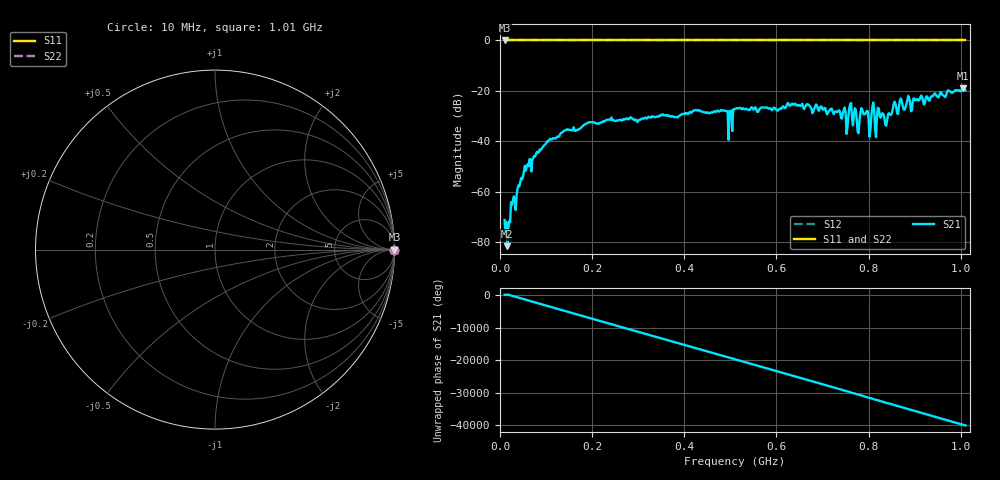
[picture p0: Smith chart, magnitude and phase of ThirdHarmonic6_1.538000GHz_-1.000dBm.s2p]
! 8/16/2025 6:14:11 PM
! C:\ANRITSUVNA\TEMP\TEMP.S2P
! CHANNEL.1
! TR.MEASUREMENT
! RAW.DATA
! RF.CORRECTION.OFF
! AVERAGING.OFF
! IF.BANDWIDTH: 5KHZ
! SWEEPTYPE:  FREQ.SWEEP(Linear)
! Reference Plane Port Info
! PORT:  PORT1  PORT2
! DISTANCE:  0  m  0  m
! TIME:  0  s  0  s
! PHASE.OFFSET:  0  deg.  0  deg.
! LOSS:  0  dB  0  dB
! REF.LOSS:  0  dB  0  dB
! REF.FREQ:  0  Hz  0  Hz
! Power Info
! POWER:  -20  dBm  -20  dBm
! EFF.POWER:  -20  dBm  -20  dBm
! SOURCE.ATTEN:  0  dB  0  dB
! TEST.ATTEN:  0  dB  0  dB
# GHZ S RI R 50.0
! FREQ.GHZ  S11RE  S11IM  S21RE  S21IM  S12RE  S12IM  S22RE  S22IM
!; PortSelection: Port_12
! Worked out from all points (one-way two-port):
!   501 points, 10 MHz to 1.01 GHz, reference 50 ohm
!   highest |S21| = -19.03 dB at 1.004 GHz (marker M1); lowest = -81.7 dB at 16 MHz (marker M2)
!   lowest |S11| = 0.0 dB at 10 MHz (marker M3)
!   |S11| at or under -10 dB: nowhere
!   |S22| runs from 0.0 to 0.0 dB; largest |S21 - S12| = 1.1
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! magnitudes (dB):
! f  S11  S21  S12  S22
! 10 MHz  0.0  -71.3  0.0  0.0
! 16 MHz  0.0  -81.7  0.0  0.0
! 28 MHz  0.0  -63.5  0.0  0.0
! 62 MHz  0.0  -49.9  0.0  0.0
! 106 MHz  0.0  -39.7  0.0  0.0
! 178 MHz  0.0  -34.1  0.0  0.0
! 344 MHz  0.0  -30.3  0.0  0.0
! 484 MHz  0.0  -27.8  0.0  0.0
! 500 MHz  0.0  -28.0  0.0  0.0
! 510 MHz  0.0  -27.2  0.0  0.0
! 678 MHz  0.0  -28.9  0.0  0.0
! 754 MHz  0.0  -34.4  0.0  0.0
! 760 MHz  0.0  -25.2  0.0  0.0
! 778 MHz  0.0  -36.8  0.0  0.0
! 786 MHz  0.0  -27.3  0.0  0.0
! 802 MHz  0.0  -38.2  0.0  0.0
! 808 MHz  0.0  -26.6  0.0  0.0
! 816 MHz  0.0  -38.4  0.0  0.0
! 844 MHz  0.0  -28.9  0.0  0.0
! 870 MHz  0.0  -23.0  0.0  0.0
! 1.004 GHz  0.0  -19.0  0.0  0.0
! 1.01 GHz  0.0  -19.7  0.0  0.0
